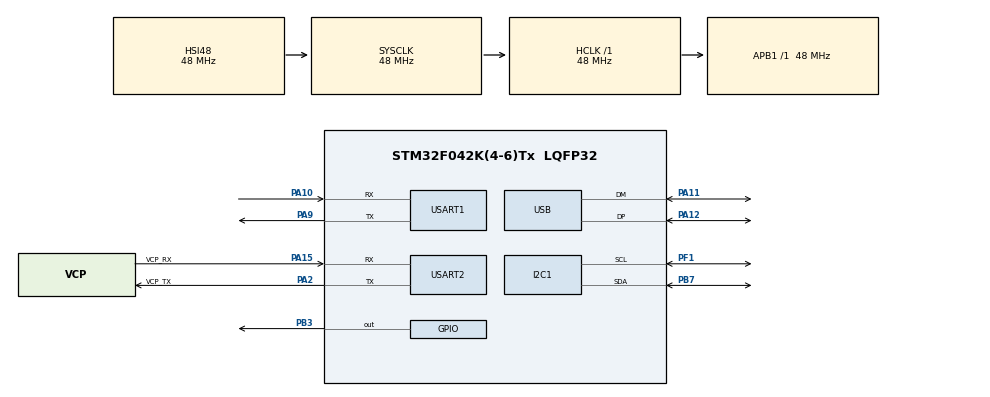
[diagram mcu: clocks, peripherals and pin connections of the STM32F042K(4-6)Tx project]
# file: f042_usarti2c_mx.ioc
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Mcu.Family=STM32F0
Mcu.Name=STM32F042K(4-6)Tx
Mcu.Package=LQFP32
NVIC.USB_IRQn=true\:0\:0\:false\:false\:true\:false\:true
PA10.Mode=Asynchronous
PA10.Signal=USART1_RX
PA11.Mode=Device
PA11.Signal=USB_DM
PA12.Mode=Device
PA12.Signal=USB_DP
PA13.GPIO_Label=SWDIO
PA13.Mode=Serial_Wire
PA13.Signal=SYS_SWDIO
PA14.GPIO_Label=SWCLK
PA14.Mode=Serial_Wire
PA14.Signal=SYS_SWCLK
PA15.GPIO_Label=VCP_RX
PA15.Mode=Asynchronous
PA15.Signal=USART2_RX
PA2.GPIO_Label=VCP_TX
PA2.Mode=Asynchronous
PA2.Signal=USART2_TX
PA9.Mode=Asynchronous
PA9.Signal=USART1_TX
PB3.Signal=GPIO_Output
PB7.Mode=I2C
PB7.Signal=I2C1_SDA
PF0-OSC_IN.GPIO_Label=MCO
PF0-OSC_IN.Mode=HSE-External-Clock-Source
PF0-OSC_IN.Signal=RCC_OSC_IN
PF1-OSC_OUT.Mode=I2C
PF1-OSC_OUT.Signal=I2C1_SCL
ProjectManager.HeapSize=0x100
ProjectManager.StackSize=0x180
ProjectManager.TargetToolchain=STM32CubeIDE
RCC.AHBFreq_Value=48000000
RCC.APB1Freq_Value=48000000
RCC.APB1TimFreq_Value=48000000
RCC.HCLKFreq_Value=48000000
RCC.SYSCLKFreq_VALUE=48000000
RCC.SYSCLKSource=RCC_SYSCLKSOURCE_HSI48
USART1.VirtualMode-Asynchronous=VM_ASYNC
USART2.VirtualMode-Asynchronous=VM_ASYNC
USB_DEVICE.CLASS_NAME_FS=CDC
USB_DEVICE.VirtualMode=Cdc
USB_DEVICE.VirtualModeFS=Cdc_FS
VP_USB_DEVICE_VS_USB_DEVICE_CDC_FS.Mode=CDC_FS
board=NUCLEO-F042K6

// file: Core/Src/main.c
/* USER CODE BEGIN Header */
/**
  ******************************************************************************
  * @file           : main.c
  * @brief          : Main program body
  ******************************************************************************
  * @attention
  *
  * <h2><center>&copy; Copyright (c) 2021 STMicroelectronics.
  * All rights reserved.</center></h2>
  *
  * This software component is licensed by ST under BSD 3-Clause license,
  * the "License"; You may not use this file except in compliance with the
  * License. You may obtain a copy of the License at:
  *                        opensource.org/licenses/BSD-3-Clause
  *
  ******************************************************************************
  */
/* USER CODE END Header */
#include <stdio.h>
#include <string.h>
#include "main.h"
#include "usb_device.h"

I2C_HandleTypeDef hi2c1;

UART_HandleTypeDef huart1;
UART_HandleTypeDef huart2;

void SystemClock_Config(void);
static void MX_GPIO_Init(void);
static void MX_USART2_UART_Init(void);
static void MX_USART1_UART_Init(void);
static void MX_I2C1_Init(void);

int main(void)
{
  /* USER CODE BEGIN 1 */
    char buffer[80] = "Hello, World!\r\n";
    int i = 0x30;

  /* USER CODE END 1 */

  /* MCU Configuration--------------------------------------------------------*/

  /* Reset of all peripherals, Initializes the Flash interface and the Systick. */
  HAL_Init();

  /* Configure the system clock */
  SystemClock_Config();

  /* Initialize all configured peripherals */
  MX_GPIO_Init();
  MX_USART2_UART_Init();
  MX_USART1_UART_Init();
  MX_USB_DEVICE_Init();
  MX_I2C1_Init();
  /* USER CODE BEGIN 2 */

  sprintf(buffer, "uart 1 ...\r\n");
  HAL_UART_Transmit(&huart1, (uint8_t *)buffer, strlen(buffer), 100);

  sprintf(buffer, "uart 2 ...\r\n");
  HAL_UART_Transmit(&huart2, (uint8_t *)buffer, strlen(buffer), 100);

// no ... race with host to install the VCP
//  sprintf(buffer, "usb vcp ...... \r\n");
//  CDC_Transmit_FS((uint8_t *)buffer, strlen(buffer));

  /* USER CODE END 2 */

  /* Infinite loop */
  while (1)
  {

    /* USER CODE BEGIN 3 */
    i = (i < 0x40) ? i + 1 : 0x30;
    HAL_GPIO_TogglePin(GPIOB /* LD3_GPIO_Port */, GPIO_PIN_3 /* LD3_Pin */);

    sprintf(buffer, "%d: huart1\r\n", i);
    HAL_UART_Transmit(&huart1, (uint8_t*) buffer, strlen(buffer), 100);
    HAL_Delay(125);

    sprintf(buffer, "%d: huart2\r\n", i);
    HAL_UART_Transmit(&huart2, (uint8_t*) buffer, strlen(buffer), 100);
    HAL_Delay(125);

    sprintf(buffer, "%d: usb vcp\r\n", i);
    CDC_Transmit_FS(buffer, strlen(buffer));
  }
  /* USER CODE END 3 */
}

void SystemClock_Config(void)
{
  RCC_OscInitTypeDef RCC_OscInitStruct = {0};
  RCC_ClkInitTypeDef RCC_ClkInitStruct = {0};
  RCC_PeriphCLKInitTypeDef PeriphClkInit = {0};

  /** Initializes the RCC Oscillators according to the specified parameters
  * in the RCC_OscInitTypeDef structure.
  */
  RCC_OscInitStruct.OscillatorType = RCC_OSCILLATORTYPE_HSI|RCC_OSCILLATORTYPE_HSI48;
  RCC_OscInitStruct.HSIState = RCC_HSI_ON;
  RCC_OscInitStruct.HSI48State = RCC_HSI48_ON;
  RCC_OscInitStruct.HSICalibrationValue = RCC_HSICALIBRATION_DEFAULT;
  RCC_OscInitStruct.PLL.PLLState = RCC_PLL_NONE;
  if (HAL_RCC_OscConfig(&RCC_OscInitStruct) != HAL_OK)
  {
    Error_Handler();
  }
  /** Initializes the CPU, AHB and APB buses clocks
  */
  RCC_ClkInitStruct.ClockType = RCC_CLOCKTYPE_HCLK|RCC_CLOCKTYPE_SYSCLK
                              |RCC_CLOCKTYPE_PCLK1;
  RCC_ClkInitStruct.SYSCLKSource = RCC_SYSCLKSOURCE_HSI48;
  RCC_ClkInitStruct.AHBCLKDivider = RCC_SYSCLK_DIV1;
  RCC_ClkInitStruct.APB1CLKDivider = RCC_HCLK_DIV1;

  if (HAL_RCC_ClockConfig(&RCC_ClkInitStruct, FLASH_LATENCY_1) != HAL_OK)
  {
    Error_Handler();
  }
  PeriphClkInit.PeriphClockSelection = RCC_PERIPHCLK_USB|RCC_PERIPHCLK_USART1
                              |RCC_PERIPHCLK_I2C1;
  PeriphClkInit.Usart1ClockSelection = RCC_USART1CLKSOURCE_PCLK1;
  PeriphClkInit.I2c1ClockSelection = RCC_I2C1CLKSOURCE_HSI;
  PeriphClkInit.UsbClockSelection = RCC_USBCLKSOURCE_HSI48;

  if (HAL_RCCEx_PeriphCLKConfig(&PeriphClkInit) != HAL_OK)
  {
    Error_Handler();
  }
}

static void MX_I2C1_Init(void)
{

  hi2c1.Instance = I2C1;
  hi2c1.Init.Timing = 0x2000090E;
  hi2c1.Init.OwnAddress1 = 0;
  hi2c1.Init.AddressingMode = I2C_ADDRESSINGMODE_7BIT;
  hi2c1.Init.DualAddressMode = I2C_DUALADDRESS_DISABLE;
  hi2c1.Init.OwnAddress2 = 0;
  hi2c1.Init.OwnAddress2Masks = I2C_OA2_NOMASK;
  hi2c1.Init.GeneralCallMode = I2C_GENERALCALL_DISABLE;
  hi2c1.Init.NoStretchMode = I2C_NOSTRETCH_DISABLE;
  if (HAL_I2C_Init(&hi2c1) != HAL_OK)
  {
    Error_Handler();
  }
  /** Configure Analogue filter
  */
  if (HAL_I2CEx_ConfigAnalogFilter(&hi2c1, I2C_ANALOGFILTER_ENABLE) != HAL_OK)
  {
    Error_Handler();
  }
  /** Configure Digital filter
  */
  if (HAL_I2CEx_ConfigDigitalFilter(&hi2c1, 0) != HAL_OK)
  {
    Error_Handler();
  }

}

static void MX_USART1_UART_Init(void)
{

  huart1.Instance = USART1;
  huart1.Init.BaudRate = 38400;
  huart1.Init.WordLength = UART_WORDLENGTH_8B;
  huart1.Init.StopBits = UART_STOPBITS_1;
  huart1.Init.Parity = UART_PARITY_NONE;
  huart1.Init.Mode = UART_MODE_TX_RX;
  huart1.Init.HwFlowCtl = UART_HWCONTROL_NONE;
  huart1.Init.OverSampling = UART_OVERSAMPLING_16;
  huart1.Init.OneBitSampling = UART_ONE_BIT_SAMPLE_DISABLE;
  huart1.AdvancedInit.AdvFeatureInit = UART_ADVFEATURE_NO_INIT;
  if (HAL_UART_Init(&huart1) != HAL_OK)
  {
    Error_Handler();
  }

}

static void MX_USART2_UART_Init(void)
{

  huart2.Instance = USART2;
  huart2.Init.BaudRate = 38400;
  huart2.Init.WordLength = UART_WORDLENGTH_8B;
  huart2.Init.StopBits = UART_STOPBITS_1;
  huart2.Init.Parity = UART_PARITY_NONE;
  huart2.Init.Mode = UART_MODE_TX_RX;
  huart2.Init.HwFlowCtl = UART_HWCONTROL_NONE;
  huart2.Init.OverSampling = UART_OVERSAMPLING_16;
  huart2.Init.OneBitSampling = UART_ONE_BIT_SAMPLE_DISABLE;
  huart2.AdvancedInit.AdvFeatureInit = UART_ADVFEATURE_NO_INIT;
  if (HAL_UART_Init(&huart2) != HAL_OK)
  {
    Error_Handler();
  }

}

static void MX_GPIO_Init(void)
{
  GPIO_InitTypeDef GPIO_InitStruct = {0};

  /* GPIO Ports Clock Enable */
  __HAL_RCC_GPIOF_CLK_ENABLE();
  __HAL_RCC_GPIOA_CLK_ENABLE();
  __HAL_RCC_GPIOB_CLK_ENABLE();

  /*Configure GPIO pin Output Level */
  HAL_GPIO_WritePin(GPIOB, GPIO_PIN_3, GPIO_PIN_RESET);

  /*Configure GPIO pin : PB3 */
  GPIO_InitStruct.Pin = GPIO_PIN_3;
  GPIO_InitStruct.Mode = GPIO_MODE_OUTPUT_PP;
  GPIO_InitStruct.Pull = GPIO_NOPULL;
  GPIO_InitStruct.Speed = GPIO_SPEED_FREQ_LOW;
  HAL_GPIO_Init(GPIOB, &GPIO_InitStruct);

}

void Error_Handler(void)
{
  __disable_irq();
  while (1)
  {
  }
}

/************************ (C) COPYRIGHT STMicroelectronics *****END OF FILE****/
